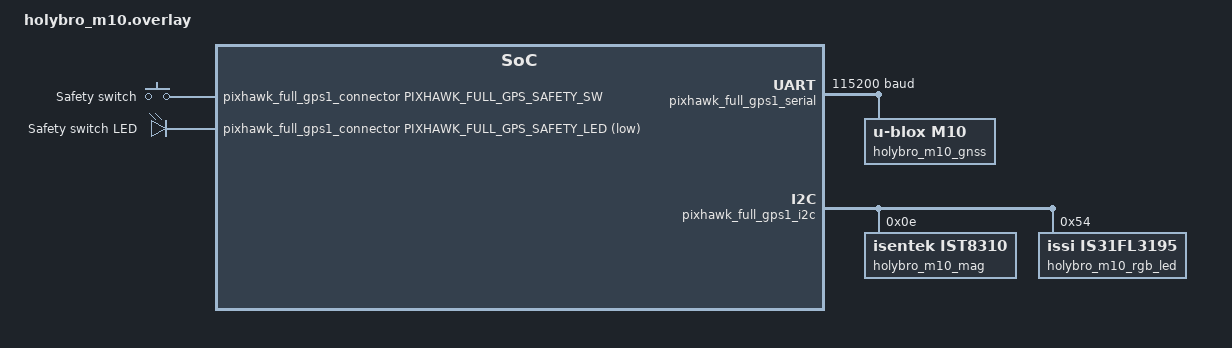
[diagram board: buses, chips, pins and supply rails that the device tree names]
/*
 * SPDX-FileCopyrightText: Copyright The Zephyr Project Contributors
 * SPDX-License-Identifier: Apache-2.0
 */

#include <zephyr/dt-bindings/gpio/pixhawk-connector.h>
#include <zephyr/dt-bindings/input/input-event-codes.h>
#include <zephyr/dt-bindings/led/led.h>

/ {
	aliases {
		gnss = &holybro_m10_gnss;
		magn0 = &holybro_m10_mag;
	};

	holybro_m10_keys {
		compatible = "gpio-keys";

		holybro_m10_safety_switch: safety_switch {
			label = "Safety switch";
			gpios = <&pixhawk_full_gps1_connector PIXHAWK_FULL_GPS_SAFETY_SW
				 (GPIO_ACTIVE_HIGH | GPIO_PULL_DOWN)>;
			zephyr,code = <INPUT_KEY_0>;
		};
	};

	holybro_m10_leds {
		compatible = "gpio-leds";

		holybro_m10_safety_led: safety_led {
			label = "Safety switch LED";
			gpios = <&pixhawk_full_gps1_connector PIXHAWK_FULL_GPS_SAFETY_LED
				 GPIO_ACTIVE_LOW>;
		};
	};
};

&pixhawk_full_gps1_serial {
	current-speed = <115200>;
	status = "okay";

	holybro_m10_gnss: gnss {
		compatible = "u-blox,m10";
		initial-baudrate = <115200>;
	};
};

&pixhawk_full_gps1_i2c {
	status = "okay";

	holybro_m10_mag: ist8310@e {
		compatible = "isentek,ist8310";
		reg = <0x0e>;
	};

	holybro_m10_rgb_led: is31fl3195@54 {
		compatible = "issi,is31fl3195";
		reg = <0x54>;

		led_0 {
			label = "RGB LED";
			color-mapping = <LED_COLOR_ID_RED>, <LED_COLOR_ID_GREEN>,
					<LED_COLOR_ID_BLUE>;
			current-limit = <20>;
		};
	};
};
